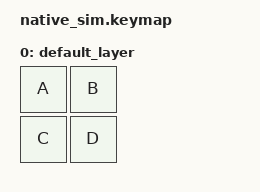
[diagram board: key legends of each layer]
/*
 * Test: rolling-shared-key
 *
 * Two combos sharing key position 1:
 *   combo_x: positions <0 1> → X
 *   combo_y: positions <1 2> → Y
 *
 * This is the core rolling-combos test.  Press 0+1 to activate combo_x,
 * then press 2 while key 1 is still held.  Combo_y should detect that
 * position 1 is borrowed from the active combo_x and activate immediately.
 *
 * Sequence:
 *   press(0, 0ms), press(1, 10ms),       -- combo_x activates
 *   press(2, 10ms),                       -- combo_y activates (key 1 borrowed)
 *   release(0, 200ms),                    -- combo_x releases (non-slow-release)
 *   release(1, 10ms),                     -- released from both active combos
 *   release(2, 10ms)                      -- combo_y fully released
 *
 * Expected: press X, press Y, release X, release Y
 */

#include <dt-bindings/zmk/keys.h>
#include <behaviors.dtsi>
#include <dt-bindings/zmk/kscan_mock.h>

/ {
    rolling_combos {
        compatible = "zmk,rolling-combos";
        combo_x {
            timeout-ms = <50>;
            key-positions = <0 1>;
            bindings = <&kp X>;
        };
        combo_y {
            timeout-ms = <50>;
            key-positions = <1 2>;
            bindings = <&kp Y>;
        };
    };

    keymap {
        compatible = "zmk,keymap";
        default_layer {
            bindings = <
                &kp A &kp B
                &kp C &kp D
            >;
        };
    };
};

&kscan {
    events = <
        ZMK_MOCK_PRESS(0, 0, 0)
        ZMK_MOCK_PRESS(0, 1, 10)
        ZMK_MOCK_PRESS(1, 0, 10)
        ZMK_MOCK_RELEASE(0, 0, 200)
        ZMK_MOCK_RELEASE(0, 1, 10)
        ZMK_MOCK_RELEASE(1, 0, 10)
    >;
};
